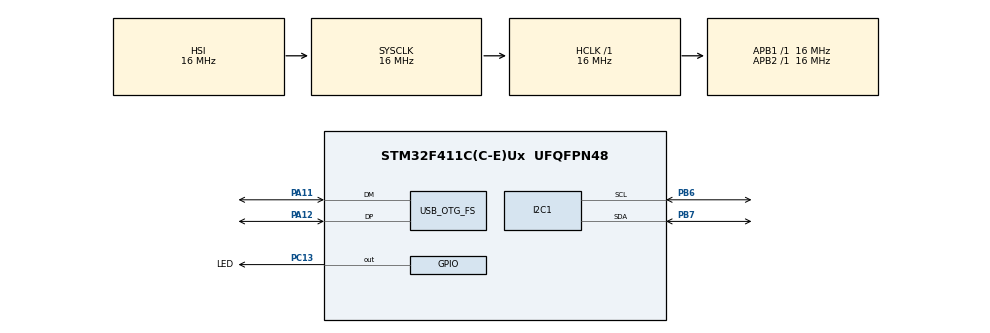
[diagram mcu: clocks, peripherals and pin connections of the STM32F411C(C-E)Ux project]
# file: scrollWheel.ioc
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Mcu.Family=STM32F4
Mcu.Name=STM32F411C(C-E)Ux
Mcu.Package=UFQFPN48
NVIC.I2C1_ER_IRQn=true\:0\:0\:false\:true\:true\:2\:true\:true\:true
NVIC.I2C1_EV_IRQn=true\:0\:0\:false\:true\:true\:1\:true\:true\:true
NVIC.OTG_FS_IRQn=true\:0\:0\:false\:true\:true\:3\:true\:true\:true
NVIC.PriorityGroup=NVIC_PRIORITYGROUP_4
PA11.Mode=Device_Only
PA11.Signal=USB_OTG_FS_DM
PA12.Mode=Device_Only
PA12.Signal=USB_OTG_FS_DP
PB6.GPIO_Pu=GPIO_PULLUP
PB6.Mode=I2C
PB6.Signal=I2C1_SCL
PB7.GPIO_Pu=GPIO_PULLUP
PB7.Mode=I2C
PB7.Signal=I2C1_SDA
PC13-ANTI_TAMP.GPIO_Label=LED
PC13-ANTI_TAMP.Signal=GPIO_Output
PH0\ -\ OSC_IN.Mode=HSE-External-Oscillator
PH0\ -\ OSC_IN.Signal=RCC_OSC_IN
PH1\ -\ OSC_OUT.Mode=HSE-External-Oscillator
PH1\ -\ OSC_OUT.Signal=RCC_OSC_OUT
ProjectManager.HeapSize=0x200
ProjectManager.StackSize=0x400
ProjectManager.TargetToolchain=STM32CubeIDE
RCC.48MHZClocksFreq_Value=48000000
RCC.AHBFreq_Value=16000000
RCC.APB1Freq_Value=16000000
RCC.APB2Freq_Value=16000000
RCC.CortexFreq_Value=16000000
RCC.HSE_VALUE=25000000
RCC.HSI_VALUE=16000000
RCC.LSE_VALUE=32768
RCC.PLLM=15
RCC.PLLN=144
RCC.PLLQ=5
RCC.SYSCLKFreq_VALUE=16000000
RCC.VCOOutputFreq_Value=240000000
USB_DEVICE.CLASS_NAME_FS=HID
USB_DEVICE.LANGID_STRING=1031
USB_DEVICE.MANUFACTURER_STRING=Joni
USB_DEVICE.PRODUCT_STRING_HID_FS=Scroll Wheel
USB_DEVICE.VirtualMode=Hid
USB_DEVICE.VirtualModeFS=Hid_FS
USB_OTG_FS.VirtualMode=Device_Only
VP_USB_DEVICE_VS_USB_DEVICE_HID_FS.Mode=HID_FS
board=custom

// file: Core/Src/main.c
/* USER CODE BEGIN Header */
/**
  ******************************************************************************
  * @file           : main.c
  * @brief          : Main program body
  ******************************************************************************
  * @attention
  *
  * Copyright (c) 2024 STMicroelectronics.
  * All rights reserved.
  *
  * This software is licensed under terms that can be found in the LICENSE file
  * in the root directory of this software component.
  * If no LICENSE file comes with this software, it is provided AS-IS.
  *
  ******************************************************************************
  */
/* USER CODE END Header */
#include "main.h"
#include "usb_device.h"

/* USER CODE BEGIN Includes */
#include "as5600.h"
#include "stdbool.h"
/* USER CODE END Includes */

/* USER CODE BEGIN PTD */
#define WHEEL_STEPSIZE 2
#define MAIN_CYLCE_TIME_MS 1
typedef struct __attribute__((__packed__)) {
	uint8_t buttons;

	int8_t x;
	int8_t y;

	int16_t wheel;
} mouseReport;

struct Encoder {
	uint16_t rawAngle;
	int16_t turnCounter;
	int32_t angle;
	int16_t relativeChange;
	int16_t relativeChangeToProcessedPosition;
	int16_t processedAngle;
	uint32_t positionTime;
	int16_t rotationSpeed;
} encoder, lastEncoderState;

int32_t rawAngle = 0;
uint16_t unprocessedDegrees = 0;
uint16_t lastProcessedAngle = 0;
uint8_t buf[12] = {0};
uint32_t timeLastCycle;
/* USER CODE END PTD */

I2C_HandleTypeDef hi2c1;

/* USER CODE BEGIN PV */
mouseReport mouseReportContainer;
mouseReport lastMouseReportContainer;
extern USBD_HandleTypeDef hUsbDeviceFS;
extern int8_t rx_buffer[6];
extern int8_t resolution_multiplier;
/* USER CODE END PV */

void SystemClock_Config(void);
static void MX_GPIO_Init(void);
static void MX_I2C1_Init(void);
static void MX_NVIC_Init(void);
/* USER CODE BEGIN PFP */
void handleEncoder(AS5600_TypeDef *a);
/* USER CODE END PFP */

int main(void)
{

  /* MCU Configuration--------------------------------------------------------*/

  /* Reset of all peripherals, Initializes the Flash interface and the Systick. */
  HAL_Init();

  /* Configure the system clock */
  SystemClock_Config();

  /* Initialize all configured peripherals */
  MX_GPIO_Init();
  MX_I2C1_Init();
  MX_USB_DEVICE_Init();

  /* Initialize interrupts */
  MX_NVIC_Init();
  /* USER CODE BEGIN 2 */
  HAL_GPIO_WritePin(LED_GPIO_Port, LED_Pin, 1);
  AS5600_TypeDef *a = AS5600_New();
  a->i2cHandle = &hi2c1;
  a->i2cAddr = 0x36 << 1;

	// Read angular measurements
	uint8_t data[2] = {0};
	AS5600_Init(a);
	bool valueChanged = false;

  /* USER CODE END 2 */

  /* Infinite loop */
  while (1)
  {

    /* USER CODE BEGIN 3 */

		if (HAL_GetTick() - timeLastCycle > MAIN_CYLCE_TIME_MS) {
			//AS5600_GetAngle(a, &angle);
			handleEncoder(a);
			resolution_multiplier = 2;

			if (abs(encoder.relativeChangeToProcessedPosition) > 2) {
				mouseReportContainer.wheel =
						encoder.relativeChangeToProcessedPosition
								* WHEEL_STEPSIZE
								* abs(encoder.rotationSpeed); //WHEEL_STEPSIZE * encoder.relativeChangeToProcessedPosition/2;
				encoder.processedAngle = encoder.angle;
			} else {
				mouseReportContainer.wheel = 0;
			}
			if (encoder.positionTime != lastEncoderState.positionTime)
				encoder.rotationSpeed =
						encoder.relativeChangeToProcessedPosition
								/ (encoder.positionTime
										- lastEncoderState.positionTime);

			if (mouseReportContainer.wheel != 0
					|| lastMouseReportContainer.wheel != 0)
				USBD_HID_SendReport(&hUsbDeviceFS,
						(uint8_t*) &mouseReportContainer, 5);

			lastMouseReportContainer = mouseReportContainer;
			lastEncoderState = encoder;
			timeLastCycle = HAL_GetTick();
		}

	 //USBD_HID_SendReport(&hUsbDeviceFS, (uint8_t *) &mouseWheelReportContainer, 2);

	 // HAL_I2C_Mem_Read(&hi2c1, 0x36 << 1, 0x0D, 1, buf, 1, HAL_MAX_DELAY);
  }
  /* USER CODE END 3 */
}

void SystemClock_Config(void)
{
  RCC_OscInitTypeDef RCC_OscInitStruct = {0};
  RCC_ClkInitTypeDef RCC_ClkInitStruct = {0};

  /** Configure the main internal regulator output voltage
  */
  __HAL_RCC_PWR_CLK_ENABLE();
  __HAL_PWR_VOLTAGESCALING_CONFIG(PWR_REGULATOR_VOLTAGE_SCALE1);

  /** Initializes the RCC Oscillators according to the specified parameters
  * in the RCC_OscInitTypeDef structure.
  */
  RCC_OscInitStruct.OscillatorType = RCC_OSCILLATORTYPE_HSI|RCC_OSCILLATORTYPE_HSE;
  RCC_OscInitStruct.HSEState = RCC_HSE_ON;
  RCC_OscInitStruct.HSIState = RCC_HSI_ON;
  RCC_OscInitStruct.HSICalibrationValue = RCC_HSICALIBRATION_DEFAULT;
  RCC_OscInitStruct.PLL.PLLState = RCC_PLL_ON;
  RCC_OscInitStruct.PLL.PLLSource = RCC_PLLSOURCE_HSE;
  RCC_OscInitStruct.PLL.PLLM = 15;
  RCC_OscInitStruct.PLL.PLLN = 144;
  RCC_OscInitStruct.PLL.PLLP = RCC_PLLP_DIV2;
  RCC_OscInitStruct.PLL.PLLQ = 5;
  if (HAL_RCC_OscConfig(&RCC_OscInitStruct) != HAL_OK)
  {
    Error_Handler();
  }

  /** Initializes the CPU, AHB and APB buses clocks
  */
  RCC_ClkInitStruct.ClockType = RCC_CLOCKTYPE_HCLK|RCC_CLOCKTYPE_SYSCLK
                              |RCC_CLOCKTYPE_PCLK1|RCC_CLOCKTYPE_PCLK2;
  RCC_ClkInitStruct.SYSCLKSource = RCC_SYSCLKSOURCE_HSI;
  RCC_ClkInitStruct.AHBCLKDivider = RCC_SYSCLK_DIV1;
  RCC_ClkInitStruct.APB1CLKDivider = RCC_HCLK_DIV1;
  RCC_ClkInitStruct.APB2CLKDivider = RCC_HCLK_DIV1;

  if (HAL_RCC_ClockConfig(&RCC_ClkInitStruct, FLASH_LATENCY_0) != HAL_OK)
  {
    Error_Handler();
  }
}

/**
  * @brief NVIC Configuration.
  * @retval None
  */
static void MX_NVIC_Init(void)
{
  /* I2C1_EV_IRQn interrupt configuration */
  HAL_NVIC_SetPriority(I2C1_EV_IRQn, 0, 0);
  HAL_NVIC_EnableIRQ(I2C1_EV_IRQn);
  /* I2C1_ER_IRQn interrupt configuration */
  HAL_NVIC_SetPriority(I2C1_ER_IRQn, 0, 0);
  HAL_NVIC_EnableIRQ(I2C1_ER_IRQn);
  /* OTG_FS_IRQn interrupt configuration */
  HAL_NVIC_SetPriority(OTG_FS_IRQn, 0, 0);
  HAL_NVIC_EnableIRQ(OTG_FS_IRQn);
}

static void MX_I2C1_Init(void)
{

  hi2c1.Instance = I2C1;
  hi2c1.Init.ClockSpeed = 100000;
  hi2c1.Init.DutyCycle = I2C_DUTYCYCLE_2;
  hi2c1.Init.OwnAddress1 = 0;
  hi2c1.Init.AddressingMode = I2C_ADDRESSINGMODE_7BIT;
  hi2c1.Init.DualAddressMode = I2C_DUALADDRESS_DISABLE;
  hi2c1.Init.OwnAddress2 = 0;
  hi2c1.Init.GeneralCallMode = I2C_GENERALCALL_DISABLE;
  hi2c1.Init.NoStretchMode = I2C_NOSTRETCH_DISABLE;
  if (HAL_I2C_Init(&hi2c1) != HAL_OK)
  {
    Error_Handler();
  }

}

static void MX_GPIO_Init(void)
{
  GPIO_InitTypeDef GPIO_InitStruct = {0};

  /* GPIO Ports Clock Enable */
  __HAL_RCC_GPIOC_CLK_ENABLE();
  __HAL_RCC_GPIOH_CLK_ENABLE();
  __HAL_RCC_GPIOA_CLK_ENABLE();
  __HAL_RCC_GPIOB_CLK_ENABLE();

  /*Configure GPIO pin Output Level */
  HAL_GPIO_WritePin(LED_GPIO_Port, LED_Pin, GPIO_PIN_RESET);

  /*Configure GPIO pin : LED_Pin */
  GPIO_InitStruct.Pin = LED_Pin;
  GPIO_InitStruct.Mode = GPIO_MODE_OUTPUT_PP;
  GPIO_InitStruct.Pull = GPIO_NOPULL;
  GPIO_InitStruct.Speed = GPIO_SPEED_FREQ_LOW;
  HAL_GPIO_Init(LED_GPIO_Port, &GPIO_InitStruct);

}

/* USER CODE BEGIN 4 */

void handleEncoder(AS5600_TypeDef *a)
{
	AS5600_GetAngle(a, &encoder.rawAngle);

	if (encoder.rawAngle < 0xFFF/4 && lastEncoderState.rawAngle > 3*0xFFF/4)
		encoder.turnCounter ++;
	else if (encoder.rawAngle > 3*0xFFF/4 && lastEncoderState.rawAngle < 0xFFF/4)
		encoder.turnCounter --;

	encoder.angle = encoder.turnCounter * 0xFFF + encoder.rawAngle;
	encoder.relativeChange = lastEncoderState.angle - encoder.angle;
	encoder.relativeChangeToProcessedPosition = encoder.angle - encoder.processedAngle;
	encoder.positionTime = HAL_GetTick();
}

/* USER CODE END 4 */

void Error_Handler(void)
{
  __disable_irq();
  while (1)
  {
  }
}
